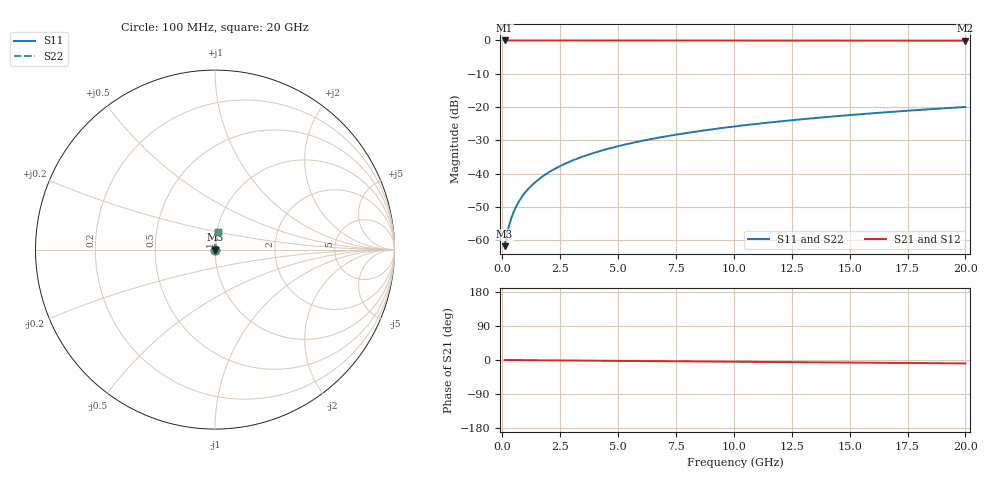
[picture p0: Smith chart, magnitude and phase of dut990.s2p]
! Touchstone file exported from HFSS 2026.1.0
!  File:  C:/ffzhzh/LocalFiles/Ansys_Project_Files/temp_train_TSV_990_1783188171_43440.aedt
!  Generated:  02:04:36 AM Jul  5, 2026
!  Design:  TSV
!  Project:  temp_train_TSV_990_1783188171_43440
! Variables:
!  h_bsmrdl = 2um
!  h_ox = 20um
!  h_rdl = 5um
!  h_sub = 63.12um
!  h_tmrdl = 5um
!  h_tsv = 63.12um
!  h_via = 3um
!  l_bsmrdl = 300um
!  l_sub = 407um
!  l_tmrdl = 200um
!  m_sub = 200um
!  pitch = 48.35um
!  r_tsv = 3.5um
!  s_tmrdl = 10um
!  w_bsmrdl = 18um
!  w_sub = 500um
!  w_tmrdl = 12um
!  x_tsv_center1 = 206um
!  x_tsv_center2 = 524um
!  x_tsv_center3 = 736um
!  x_tsv_center4 = 1054um
!  x_tsv_center5 = 1266um
!  x_tsv_center6 = 1584um
# GHz S MA R 50.000000
! Terminal data exported
! Port[1] = TSV1_1_T1
! Port[2] = TSV1_1_T2
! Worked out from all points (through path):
!   200 points, 100 MHz to 20 GHz, reference 50 ohm
!   highest |S21| = -0.01 dB at 100 MHz (marker M1); lowest = -0.1 dB at 20 GHz (marker M2)
!   group delay of S21, straight-line fit = 1.25 ps
!   lowest |S11| = -61.7 dB at 100 MHz (marker M3), VSWR 1.00, Z = 50.1 + j0.0535 ohm
!   |S11| at or under -10 dB: start of sweep to end of sweep
!   |S22| runs from -61.7 to -20.0 dB; largest |S21 - S12| = 3.5e-15
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0.1  0.0008192 40.7  0.9994 -0.0  0.9994 -0.0  0.0008192 40.7
! Gamma 0 0 0 0
! Port Impedance 50 0 50 0
0.2  0.001237 59.4  0.9994 -0.1  0.9994 -0.1  0.001237 59.4
0.3  0.001715 68.0  0.9994 -0.1  0.9994 -0.1  0.001715 68.0
0.4  0.002212 72.8  0.9994 -0.2  0.9994 -0.2  0.002212 72.8
0.5  0.002718 75.9  0.9993 -0.2  0.9993 -0.2  0.002718 75.9
0.6  0.003227 77.9  0.9993 -0.3  0.9993 -0.3  0.003227 77.9
0.8  0.004255 80.6  0.9993 -0.4  0.9993 -0.4  0.004255 80.6
1.1  0.005805 82.7  0.9993 -0.5  0.9993 -0.5  0.005805 82.7
1.5  0.007879 84.1  0.9993 -0.7  0.9993 -0.7  0.007879 84.1
1.8  0.009437 84.7  0.9992 -0.8  0.9992 -0.8  0.009437 84.7
2.1  0.01099 85.1  0.9992 -1.0  0.9992 -1.0  0.01099 85.1
2.7  0.0141 85.4  0.9991 -1.2  0.9991 -1.2  0.0141 85.4
3.5  0.01823 85.6  0.9989 -1.6  0.9989 -1.6  0.01823 85.6
4.2  0.02182 85.5  0.9988 -1.9  0.9988 -1.9  0.02182 85.5
5  0.02591 85.3  0.9986 -2.3  0.9986 -2.3  0.02591 85.3
5.9  0.03049 85.0  0.9983 -2.7  0.9983 -2.7  0.03049 85.0
6.8  0.03504 84.7  0.9981 -3.1  0.9981 -3.1  0.03504 84.7
8.3  0.04259 84.2  0.9976 -3.8  0.9976 -3.8  0.04259 84.2
10.1  0.0516 83.6  0.997 -4.6  0.997 -4.6  0.0516 83.6
13.4  0.068 82.3  0.9958 -6.1  0.9958 -6.1  0.068 82.3
16.7  0.08428 81.0  0.9943 -7.6  0.9943 -7.6  0.08428 81.0
20  0.1004 79.6  0.9926 -9.0  0.9926 -9.0  0.1004 79.6
